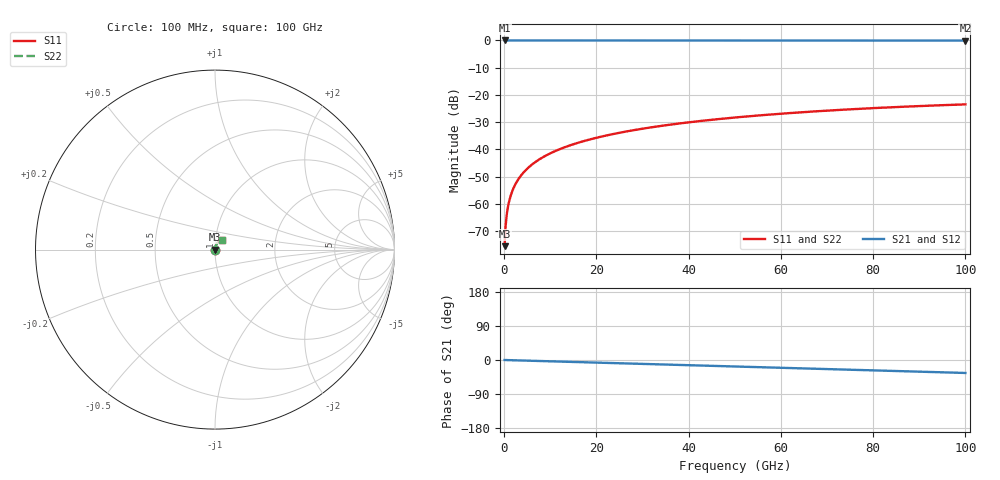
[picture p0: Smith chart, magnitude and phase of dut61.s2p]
! Touchstone file exported from HFSS 2026.1.0
!  File:  C:/ffzhzh/LocalFiles/Ansys_Project_Files/temp_train_TSV_61_1783505100_44152.aedt
!  Generated:  06:06:09 PM Jul  8, 2026
!  Design:  TSV
!  Project:  temp_train_TSV_61_1783505100_44152
! Variables:
!  h_bsmrdl = 2um
!  h_ox = 20um
!  h_rdl = 5um
!  h_sub = 65.46um
!  h_tmrdl = 5um
!  h_tsv = 65.46um
!  h_via = 3um
!  l_bsmrdl = 300um
!  l_sub = 418.94um
!  l_tmrdl = 200um
!  m_sub = 200um
!  pitch = 44.43um
!  r_tsv = 9.47um
!  s_tmrdl = 10um
!  w_bsmrdl = 18um
!  w_sub = 500um
!  w_tmrdl = 12um
!  x_tsv_center1 = 206um
!  x_tsv_center2 = 524um
!  x_tsv_center3 = 736um
!  x_tsv_center4 = 1054um
!  x_tsv_center5 = 1266um
!  x_tsv_center6 = 1584um
# GHz S MA R 50.000000
! Terminal data exported
! Port[1] = TSV1_1_T1
! Port[2] = TSV1_1_T2
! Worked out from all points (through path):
!   1000 points, 100 MHz to 100 GHz, reference 50 ohm
!   highest |S21| = 0.00 dB at 100 MHz (marker M1); lowest = 0.0 dB at 100 GHz (marker M2)
!   group delay of S21, straight-line fit = 949 fs
!   lowest |S11| = -75.5 dB at 100 MHz (marker M3), VSWR 1.00, Z = 50 + j0.0118 ohm
!   |S11| at or under -10 dB: start of sweep to end of sweep
!   |S22| runs from -75.5 to -23.5 dB; largest |S21 - S12| = 2.8e-15
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0.1  0.0001671 44.8  0.9999 -0.0  0.9999 -0.0  0.0001671 44.8
! Gamma 0 0 0 0
! Port Impedance 50 0 50 0
0.4  0.0004741 69.8  0.9998 -0.1  0.9998 -0.1  0.0004741 69.8
0.7  0.0007633 73.7  0.9998 -0.2  0.9998 -0.2  0.0007633 73.7
0.8  0.0008554 74.4  0.9998 -0.3  0.9998 -0.3  0.0008554 74.4
1.1  0.001126 76.2  0.9997 -0.4  0.9997 -0.4  0.001126 76.2
1.4  0.001392 77.4  0.9997 -0.5  0.9997 -0.5  0.001392 77.4
1.9  0.00183 78.6  0.9997 -0.7  0.9997 -0.7  0.00183 78.6
2.4  0.00226 79.4  0.9996 -0.8  0.9996 -0.8  0.00226 79.4
3.1  0.002851 80.0  0.9996 -1.1  0.9996 -1.1  0.002851 80.0
3.9  0.003516 80.6  0.9995 -1.4  0.9995 -1.4  0.003516 80.5
4.9  0.004337 81.0  0.9994 -1.7  0.9994 -1.7  0.004337 81.0
6.1  0.005316 81.3  0.9994 -2.1  0.9994 -2.1  0.005316 81.2
8.9  0.007579 81.3  0.9992 -3.1  0.9992 -3.1  0.007579 81.3
12.4  0.01037 80.8  0.9991 -4.3  0.9991 -4.3  0.01037 80.8
16.8  0.01383 79.9  0.9989 -5.8  0.9989 -5.8  0.01383 79.9
24.2  0.01957 78.1  0.9986 -8.3  0.9986 -8.3  0.01957 78.0
33.4  0.02652 75.4  0.9982 -11.4  0.9982 -11.4  0.02652 75.4
41.2  0.03224 73.1  0.9978 -14.1  0.9978 -14.1  0.03224 73.0
50.1  0.03851 70.3  0.9975 -17.1  0.9975 -17.1  0.03852 70.2
66.7  0.04941 64.9  0.9967 -22.8  0.9967 -22.8  0.04941 64.9
83.4  0.05906 59.4  0.9959 -28.5  0.9959 -28.5  0.05906 59.4
100  0.06698 54.0  0.9951 -34.2  0.9951 -34.2  0.06698 53.9
